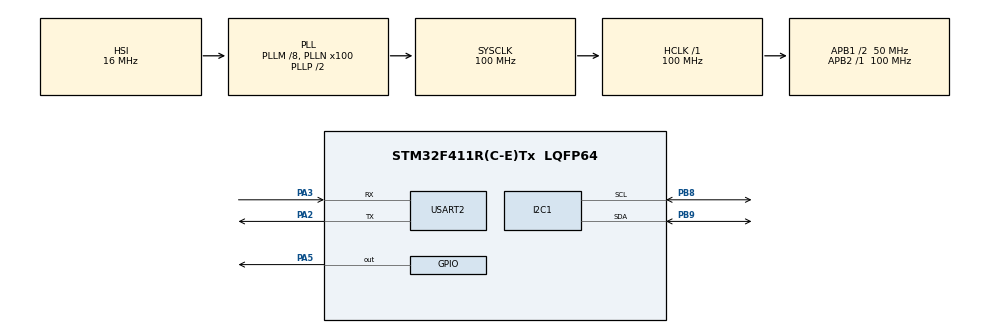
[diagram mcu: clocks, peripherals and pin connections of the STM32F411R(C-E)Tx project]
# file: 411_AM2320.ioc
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I2C1.NoStretchMode=I2C_NOSTRETCH_DISABLE
I2C1.OwnAddress=0
Mcu.Family=STM32F4
Mcu.Name=STM32F411R(C-E)Tx
Mcu.Package=LQFP64
NVIC.PriorityGroup=NVIC_PRIORITYGROUP_4
PA2.Mode=Asynchronous
PA2.Signal=USART2_TX
PA3.Mode=Asynchronous
PA3.Signal=USART2_RX
PA5.GPIO_Speed=GPIO_SPEED_FREQ_HIGH
PA5.PinState=GPIO_PIN_SET
PA5.Signal=GPIO_Output
PB8.Mode=I2C
PB8.Signal=I2C1_SCL
PB9.Mode=I2C
PB9.Signal=I2C1_SDA
ProjectManager.HeapSize=0x200
ProjectManager.StackSize=0x400
ProjectManager.TargetToolchain=MDK-ARM V5
RCC.48MHZClocksFreq_Value=50000000
RCC.AHBFreq_Value=100000000
RCC.APB1CLKDivider=RCC_HCLK_DIV2
RCC.APB1Freq_Value=50000000
RCC.APB1TimFreq_Value=100000000
RCC.APB2Freq_Value=100000000
RCC.APB2TimFreq_Value=100000000
RCC.CortexFreq_Value=100000000
RCC.HCLKFreq_Value=100000000
RCC.HSE_VALUE=25000000
RCC.HSI_VALUE=16000000
RCC.LSE_VALUE=32768
RCC.PLLM=8
RCC.PLLN=100
RCC.SYSCLKFreq_VALUE=100000000
RCC.SYSCLKSource=RCC_SYSCLKSOURCE_PLLCLK
RCC.VCOOutputFreq_Value=200000000
USART2.VirtualMode=VM_ASYNC
board=411_AM2320

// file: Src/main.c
/**
  ******************************************************************************
  * @file           : main.c
  * @brief          : Main program body
  ******************************************************************************
  ** This notice applies to any and all portions of this file
  * that are not between comment pairs USER CODE BEGIN and
  * USER CODE END. Other portions of this file, whether
  * inserted by the user or by software development tools
  * are owned by their respective copyright owners.
  *
  * COPYRIGHT(c) 2018 STMicroelectronics
  *
  * Redistribution and use in source and binary forms, with or without modification,
  * are permitted provided that the following conditions are met:
  *   1. Redistributions of source code must retain the above copyright notice,
  *      this list of conditions and the following disclaimer.
  *   2. Redistributions in binary form must reproduce the above copyright notice,
  *      this list of conditions and the following disclaimer in the documentation
  *      and/or other materials provided with the distribution.
  *   3. Neither the name of STMicroelectronics nor the names of its contributors
  *      may be used to endorse or promote products derived from this software
  *      without specific prior written permission.
  *
  * THIS SOFTWARE IS PROVIDED BY THE COPYRIGHT HOLDERS AND CONTRIBUTORS "AS IS"
  * AND ANY EXPRESS OR IMPLIED WARRANTIES, INCLUDING, BUT NOT LIMITED TO, THE
  * IMPLIED WARRANTIES OF MERCHANTABILITY AND FITNESS FOR A PARTICULAR PURPOSE ARE
  * DISCLAIMED. IN NO EVENT SHALL THE COPYRIGHT HOLDER OR CONTRIBUTORS BE LIABLE
  * FOR ANY DIRECT, INDIRECT, INCIDENTAL, SPECIAL, EXEMPLARY, OR CONSEQUENTIAL
  * DAMAGES (INCLUDING, BUT NOT LIMITED TO, PROCUREMENT OF SUBSTITUTE GOODS OR
  * SERVICES; LOSS OF USE, DATA, OR PROFITS; OR BUSINESS INTERRUPTION) HOWEVER
  * CAUSED AND ON ANY THEORY OF LIABILITY, WHETHER IN CONTRACT, STRICT LIABILITY,
  * OR TORT (INCLUDING NEGLIGENCE OR OTHERWISE) ARISING IN ANY WAY OUT OF THE USE
  * OF THIS SOFTWARE, EVEN IF ADVISED OF THE POSSIBILITY OF SUCH DAMAGE.
  *
  ******************************************************************************
  */
#include "main.h"
#include "stm32f4xx_hal.h"

/* USER CODE BEGIN Includes */
#include "AM2320.h"
#include "string.h"
/* USER CODE END Includes */

I2C_HandleTypeDef hi2c1;

UART_HandleTypeDef huart2;

/* USER CODE BEGIN PV */
/* Private variables ---------------------------------------------------------*/
float h=30.0,t=40.0;
uint8_t step = 0;
HAL_StatusTypeDef status;
/* USER CODE END PV */

void SystemClock_Config(void);
static void MX_GPIO_Init(void);
static void MX_USART2_UART_Init(void);
static void MX_I2C1_Init(void);

/* USER CODE BEGIN PFP */
/* Private function prototypes -----------------------------------------------*/
uint16_t CRC16_2(uint8_t *, uint8_t );
/* USER CODE END PFP */

int main(void)
{
  /* USER CODE BEGIN 1 */
	char str[50];
	uint8_t cmdBuffer[3];
	uint8_t dataBuffer[8];

  /* USER CODE END 1 */

  /* MCU Configuration----------------------------------------------------------*/

  /* Reset of all peripherals, Initializes the Flash interface and the Systick. */
  HAL_Init();

  /* Configure the system clock */
  SystemClock_Config();

  /* Initialize all configured peripherals */
  MX_GPIO_Init();
  MX_USART2_UART_Init();
  MX_I2C1_Init();
  /* USER CODE BEGIN 2 */
	//I2C1->CR1 |= I2C_CR1_ACK;//Acknowledge enable

		sprintf(str, "\n\rAM2320 I2C DEMO Starting . . .\n\r");
		//while(__HAL_UART_GET_FLAG(&huart2,UART_FLAG_TC)==RESET){}
		HAL_UART_Transmit(&huart2, (uint8_t*) str, strlen(str),200);

		cmdBuffer[0] = 0x03;
		cmdBuffer[1] = 0x00;
		cmdBuffer[2] = 0x04;

  /* USER CODE END 2 */

  /* Infinite loop */
  while (1)
  {

  /* USER CODE BEGIN 3 */

		sprintf(str, "Temperature = %4.1f\tHumidity = %4.1f\n\r", t, h);
		while(__HAL_UART_GET_FLAG(&huart2,UART_FLAG_TC)==RESET){}
		HAL_UART_Transmit(&huart2, (uint8_t*) str, strlen(str),200);

		HAL_Delay(5000);
		HAL_GPIO_TogglePin(GPIOA, GPIO_PIN_5);
		//AM2320_ReadData(&h,&t);

		HAL_I2C_Master_Transmit(&hi2c1, 0x5c<<1, cmdBuffer, 3, 200);
		HAL_I2C_Master_Transmit(&hi2c1, 0x5c<<1, cmdBuffer, 3, 200);

		HAL_Delay(1);

		HAL_I2C_Master_Receive(&hi2c1, 0x5c<<1, dataBuffer, 8, 200);

		uint16_t Rcrc = dataBuffer[7] << 8;
		Rcrc += dataBuffer[6];
		if (Rcrc == CRC16_2(dataBuffer, 6)) {
			uint16_t temperature = ((dataBuffer[4] & 0x7F) << 8) + dataBuffer[5];
			t = temperature / 10.0;
			t = (((dataBuffer[4] & 0x80) >> 7)== 1) ? (t * (-1)) : t ; // the temperature can be negative

			uint16_t humidity = (dataBuffer[2] << 8) + dataBuffer[3];
			h = humidity / 10.0;
		}

//		while(__HAL_UART_GET_FLAG(&huart2,UART_FLAG_TC)==RESET){}
//		HAL_UART_Transmit(&huart2, (uint8_t*) str, strlen(str),200);

  }
  /* USER CODE END 3 */

}

void SystemClock_Config(void)
{

  RCC_OscInitTypeDef RCC_OscInitStruct;
  RCC_ClkInitTypeDef RCC_ClkInitStruct;

    /**Configure the main internal regulator output voltage
    */
  __HAL_RCC_PWR_CLK_ENABLE();

  __HAL_PWR_VOLTAGESCALING_CONFIG(PWR_REGULATOR_VOLTAGE_SCALE1);

    /**Initializes the CPU, AHB and APB busses clocks
    */
  RCC_OscInitStruct.OscillatorType = RCC_OSCILLATORTYPE_HSI;
  RCC_OscInitStruct.HSIState = RCC_HSI_ON;
  RCC_OscInitStruct.HSICalibrationValue = 16;
  RCC_OscInitStruct.PLL.PLLState = RCC_PLL_ON;
  RCC_OscInitStruct.PLL.PLLSource = RCC_PLLSOURCE_HSI;
  RCC_OscInitStruct.PLL.PLLM = 8;
  RCC_OscInitStruct.PLL.PLLN = 100;
  RCC_OscInitStruct.PLL.PLLP = RCC_PLLP_DIV2;
  RCC_OscInitStruct.PLL.PLLQ = 4;
  if (HAL_RCC_OscConfig(&RCC_OscInitStruct) != HAL_OK)
  {
    _Error_Handler(__FILE__, __LINE__);
  }

    /**Initializes the CPU, AHB and APB busses clocks
    */
  RCC_ClkInitStruct.ClockType = RCC_CLOCKTYPE_HCLK|RCC_CLOCKTYPE_SYSCLK
                              |RCC_CLOCKTYPE_PCLK1|RCC_CLOCKTYPE_PCLK2;
  RCC_ClkInitStruct.SYSCLKSource = RCC_SYSCLKSOURCE_PLLCLK;
  RCC_ClkInitStruct.AHBCLKDivider = RCC_SYSCLK_DIV1;
  RCC_ClkInitStruct.APB1CLKDivider = RCC_HCLK_DIV2;
  RCC_ClkInitStruct.APB2CLKDivider = RCC_HCLK_DIV1;

  if (HAL_RCC_ClockConfig(&RCC_ClkInitStruct, FLASH_LATENCY_3) != HAL_OK)
  {
    _Error_Handler(__FILE__, __LINE__);
  }

    /**Configure the Systick interrupt time
    */
  HAL_SYSTICK_Config(HAL_RCC_GetHCLKFreq()/1000);

    /**Configure the Systick
    */
  HAL_SYSTICK_CLKSourceConfig(SYSTICK_CLKSOURCE_HCLK);

  /* SysTick_IRQn interrupt configuration */
  HAL_NVIC_SetPriority(SysTick_IRQn, 0, 0);
}

/* I2C1 init function */
static void MX_I2C1_Init(void)
{

  hi2c1.Instance = I2C1;
  hi2c1.Init.ClockSpeed = 100000;
  hi2c1.Init.DutyCycle = I2C_DUTYCYCLE_2;
  hi2c1.Init.OwnAddress1 = 0;
  hi2c1.Init.AddressingMode = I2C_ADDRESSINGMODE_7BIT;
  hi2c1.Init.DualAddressMode = I2C_DUALADDRESS_DISABLE;
  hi2c1.Init.OwnAddress2 = 0;
  hi2c1.Init.GeneralCallMode = I2C_GENERALCALL_DISABLE;
  hi2c1.Init.NoStretchMode = I2C_NOSTRETCH_DISABLE;
  if (HAL_I2C_Init(&hi2c1) != HAL_OK)
  {
    _Error_Handler(__FILE__, __LINE__);
  }

}

/* USART2 init function */
static void MX_USART2_UART_Init(void)
{

  huart2.Instance = USART2;
  huart2.Init.BaudRate = 115200;
  huart2.Init.WordLength = UART_WORDLENGTH_8B;
  huart2.Init.StopBits = UART_STOPBITS_1;
  huart2.Init.Parity = UART_PARITY_NONE;
  huart2.Init.Mode = UART_MODE_TX_RX;
  huart2.Init.HwFlowCtl = UART_HWCONTROL_NONE;
  huart2.Init.OverSampling = UART_OVERSAMPLING_16;
  if (HAL_UART_Init(&huart2) != HAL_OK)
  {
    _Error_Handler(__FILE__, __LINE__);
  }

}

/** Configure pins as
        * Analog
        * Input
        * Output
        * EVENT_OUT
        * EXTI
*/
static void MX_GPIO_Init(void)
{

  GPIO_InitTypeDef GPIO_InitStruct;

  /* GPIO Ports Clock Enable */
  __HAL_RCC_GPIOA_CLK_ENABLE();
  __HAL_RCC_GPIOB_CLK_ENABLE();

  /*Configure GPIO pin Output Level */
  HAL_GPIO_WritePin(GPIOA, GPIO_PIN_5, GPIO_PIN_SET);

  /*Configure GPIO pin : PA5 */
  GPIO_InitStruct.Pin = GPIO_PIN_5;
  GPIO_InitStruct.Mode = GPIO_MODE_OUTPUT_PP;
  GPIO_InitStruct.Pull = GPIO_NOPULL;
  GPIO_InitStruct.Speed = GPIO_SPEED_FREQ_HIGH;
  HAL_GPIO_Init(GPIOA, &GPIO_InitStruct);

}

/* USER CODE BEGIN 4 */
uint16_t CRC16_2(uint8_t *ptr, uint8_t length)
{
      uint16_t 	crc = 0xFFFF;
      uint8_t 	s 	= 0x00;

      while(length--) {
        crc ^= *ptr++;
        for(s = 0; s < 8; s++) {
          if((crc & 0x01) != 0) {
            crc >>= 1;
            crc ^= 0xA001;
          } else crc >>= 1;
        }
      }
      return crc;
}
/* USER CODE END 4 */

void _Error_Handler(char *file, int line)
{
  while(1)
  {
  }
}

/************************ (C) COPYRIGHT STMicroelectronics *****END OF FILE****/
